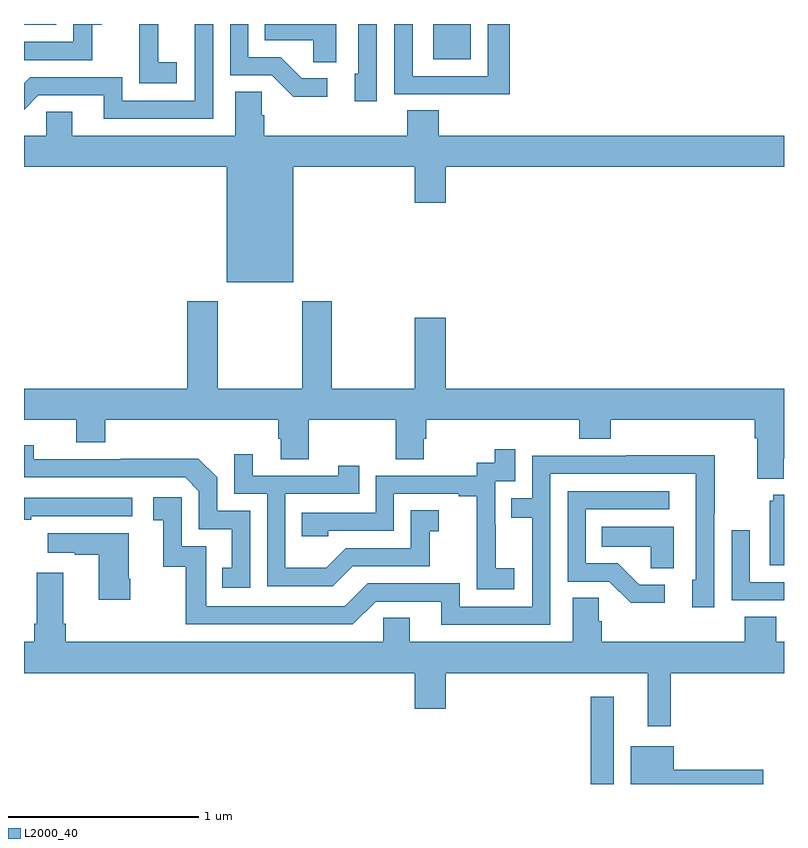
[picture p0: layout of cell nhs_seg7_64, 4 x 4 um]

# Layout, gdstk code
import gdstk
lib = gdstk.Library(unit=1e-6, precision=1e-09)
def R(c, l, rs):  # rectangles x0, y0, x1, y1
    for r in rs: c.add(gdstk.rectangle(r[:2], r[2:], *l))
def P(c, l, *ps):  # polygons
    for p in ps: c.add(gdstk.Polygon(p, *l))
L2000_40 = (2000, 40)

nhs_seg7_64 = lib.new_cell('nhs_seg7_64')
R(nhs_seg7_64, L2000_40, [(117.984,1032,118.105,1032.46), (117.155,1035.815,117.352,1036), (115,1035.996,115.17,1036)])
P(nhs_seg7_64, L2000_40, [(116.596,1035.714),(116.461,1035.714),(116.35,1035.825),(116.181,1035.825),(116.181,1036),(116.085,1036),(116.085,1035.729),(116.304,1035.729),(116.417,1035.617),(116.596,1035.617)],
  [(116.644,1036),(116.266,1036),(116.266,1035.914),(116.523,1035.914),(116.523,1035.799),(116.644,1035.799)],
  [(117.557,1036),(117.441,1036),(117.441,1035.726),(117.045,1035.726),(117.045,1036),(116.949,1036),(116.949,1035.63),(117.265,1035.63),(117.265,1035.629),(117.557,1035.629)],
  [(115.804,1035.799),(115.706,1035.799),(115.706,1036),(115.607,1036),(115.607,1035.895),(115.606,1035.895),(115.606,1035.689),(115.804,1035.689)],
  [(115.359,1035.995),(115.408,1035.995),(115.408,1036),(115.26,1036),(115.26,1035.906),(115,1035.906),(115,1035.81),(115.359,1035.81)],
  [(116.856,1036),(116.76,1036),(116.76,1035.738),(116.741,1035.738),(116.741,1035.594),(116.856,1035.594)],
  [(115.995,1036),(115.899,1036),(115.899,1035.597),(115.518,1035.597),(115.518,1035.72),(115.032,1035.72),(115,1035.688),(115,1035.55),(115.074,1035.624),(115.421,1035.624),(115.421,1035.501),(115.995,1035.501)],
  [(116.416,1035.248),(117.056,1035.248),(117.056,1035.06),(117.22,1035.06),(117.22,1035.248),(119,1035.248),(119,1035.412),(117.182,1035.412),(117.182,1035.545),(117.017,1035.545),(117.017,1035.412),(116.264,1035.412),(116.264,1035.521),(116.25,1035.521),(116.25,1035.644),(116.111,1035.644),(116.111,1035.412),(115.255,1035.412),(115.255,1035.539),(115.116,1035.539),(115.116,1035.412),(115,1035.412),(115,1035.248),(116.066,1035.248),(116.066,1034.642),(116.416,1034.642)],
  [(118.999,1033.714),(119,1033.714),(119,1034.08),(117.22,1034.08),(117.22,1034.455),(117.056,1034.455),(117.056,1034.08),(116.619,1034.08),(116.619,1034.542),(116.464,1034.542),(116.464,1034.08),(116.019,1034.08),(116.019,1034.542),(115.859,1034.542),(115.859,1034.08),(115,1034.08),(115,1033.916),(115.274,1033.916),(115.274,1033.799),(115.427,1033.799),(115.427,1033.916),(116.339,1033.916),(116.339,1033.818),(116.351,1033.818),(116.351,1033.708),(116.499,1033.708),(116.499,1033.916),(116.956,1033.916),(116.956,1033.708),(117.103,1033.708),(117.103,1033.818),(117.116,1033.818),(117.116,1033.916),(117.923,1033.916),(117.923,1033.817),(118.088,1033.817),(118.088,1033.916),(118.847,1033.916),(118.847,1033.82),(118.859,1033.82),(118.859,1033.607),(118.999,1033.607)],
  [(116.19,1033.437),(116.016,1033.437),(116.016,1033.614),(115.918,1033.712),(115.51,1033.712),(115.51,1033.71),(115.05,1033.71),(115.05,1033.783),(115,1033.783),(115,1033.614),(115.848,1033.614),(115.92,1033.542),(115.92,1033.341),(116.093,1033.341),(116.093,1033.137),(116.044,1033.137),(116.044,1033.032),(116.19,1033.032)],
  [(117.58,1033.135),(117.482,1033.135),(117.482,1033.364),(117.48,1033.364),(117.48,1033.593),(117.585,1033.593),(117.585,1033.762),(117.477,1033.762),(117.477,1033.692),(117.384,1033.692),(117.384,1033.623),(116.85,1033.623),(116.85,1033.428),(116.461,1033.428),(116.461,1033.305),(116.601,1033.305),(116.601,1033.332),(116.946,1033.332),(116.946,1033.527),(117.287,1033.527),(117.287,1033.515),(117.383,1033.515),(117.383,1033.231),(117.382,1033.231),(117.382,1033.025),(117.58,1033.025)],
  [(116.731,1033.146),(117.135,1033.146),(117.135,1033.331),(117.184,1033.331),(117.184,1033.441),(117.036,1033.441),(117.036,1033.242),(116.694,1033.242),(116.59,1033.138),(116.376,1033.138),(116.376,1033.527),(116.765,1033.527),(116.765,1033.675),(116.654,1033.675),(116.654,1033.623),(116.203,1033.623),(116.203,1033.735),(116.106,1033.735),(116.106,1033.527),(116.28,1033.527),(116.28,1033.041),(116.626,1033.041)],
  [(117.771,1033.632),(118.536,1033.632),(118.536,1033.074),(118.517,1033.074),(118.517,1032.93),(118.632,1032.93),(118.632,1033.423),(118.635,1033.423),(118.635,1033.73),(118.171,1033.73),(118.171,1033.728),(117.675,1033.728),(117.675,1033.503),(117.565,1033.503),(117.565,1033.402),(117.675,1033.402),(117.675,1032.933),(117.294,1032.933),(117.294,1033.056),(116.808,1033.056),(116.688,1032.936),(115.959,1032.936),(115.959,1033.251),(115.83,1033.251),(115.83,1033.51),(115.68,1033.51),(115.68,1033.389),(115.733,1033.389),(115.733,1033.143),(115.851,1033.143),(115.851,1032.84),(116.73,1032.84),(116.85,1032.96),(117.197,1032.96),(117.197,1032.837),(117.771,1032.837)],
  [(118.372,1033.05),(118.237,1033.05),(118.126,1033.161),(117.957,1033.161),(117.957,1033.446),(118.396,1033.446),(118.396,1033.542),(117.861,1033.542),(117.861,1033.065),(118.08,1033.065),(118.193,1032.953),(118.372,1032.953)],
  [(119,1033.522),(118.943,1033.522),(118.943,1033.491),(118.925,1033.491),(118.925,1033.151),(119,1033.151)],
  [(115.037,1033.41),(115.57,1033.41),(115.57,1033.506),(115,1033.506),(115,1033.39),(115.037,1033.39)],
  [(118.42,1033.354),(118.042,1033.354),(118.042,1033.25),(118.299,1033.25),(118.299,1033.135),(118.42,1033.135)],
  [(119,1033.062),(118.821,1033.062),(118.821,1033.336),(118.725,1033.336),(118.725,1032.966),(119,1032.966)],
  [(115.56,1033.081),(115.552,1033.081),(115.552,1033.321),(115.125,1033.321),(115.125,1033.217),(115.268,1033.217),(115.268,1033.207),(115.394,1033.207),(115.394,1032.969),(115.56,1032.969)],
  [(118.405,1032.584),(119,1032.584),(119,1032.748),(118.958,1032.748),(118.958,1032.881),(118.793,1032.881),(118.793,1032.748),(118.04,1032.748),(118.04,1032.857),(118.026,1032.857),(118.026,1032.98),(117.887,1032.98),(117.887,1032.748),(117.031,1032.748),(117.031,1032.875),(116.892,1032.875),(116.892,1032.748),(115.22,1032.748),(115.22,1032.844),(115.207,1032.844),(115.207,1033.111),(115.067,1033.111),(115.067,1032.844),(115.055,1032.844),(115.055,1032.748),(115,1032.748),(115,1032.584),(117.056,1032.584),(117.056,1032.396),(117.22,1032.396),(117.22,1032.584),(118.283,1032.584),(118.283,1032.303),(118.405,1032.303)],
  [(118.891,1032.074),(118.42,1032.074),(118.42,1032.199),(118.193,1032.199),(118.193,1032),(118.891,1032)])

lib.write_gds('nhs_seg7_64.gds')
